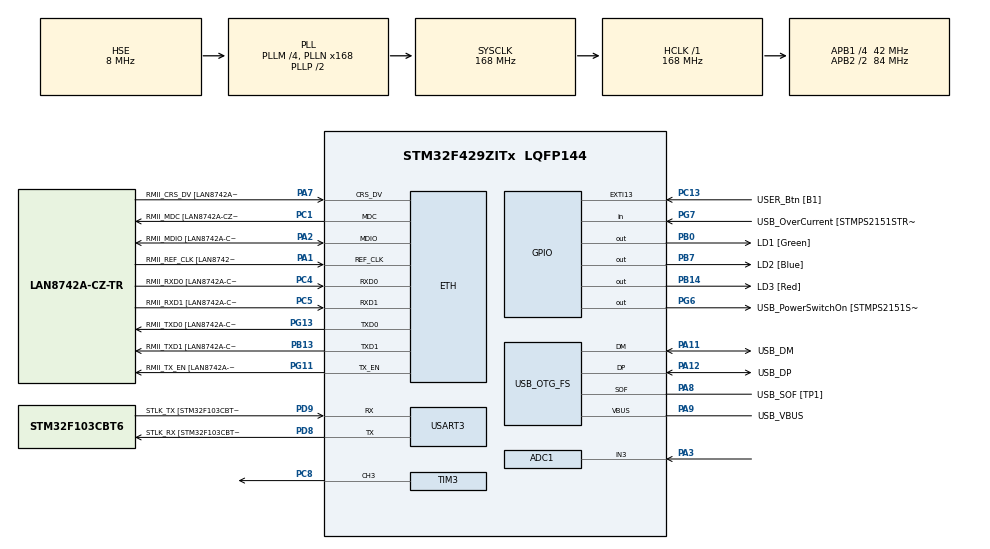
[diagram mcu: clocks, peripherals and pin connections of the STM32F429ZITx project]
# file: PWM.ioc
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ADC1.Channel-1\#ChannelRegularConversion=ADC_CHANNEL_3
ADC1.NbrOfConversionFlag=1
ADC1.Rank-1\#ChannelRegularConversion=1
ADC1.SamplingTime-1\#ChannelRegularConversion=ADC_SAMPLETIME_3CYCLES
ADC1.master=1
ETH.MediaInterface=HAL_ETH_RMII_MODE
ETH.PHY_Name=LAN8742A_PHY_ADDRESS
ETH.PHY_Value=0
ETH.PhyAddress=0
Mcu.Family=STM32F4
Mcu.Name=STM32F429ZITx
Mcu.Package=LQFP144
NVIC.ADC_IRQn=true\:0\:0\:false\:true\:true\:1\:true\:true\:true
NVIC.PriorityGroup=NVIC_PRIORITYGROUP_4
PA1.GPIO_Label=RMII_REF_CLK [LAN8742A-CZ-TR_REFCLK0]
PA1.Mode=RMII
PA1.Signal=ETH_REF_CLK
PA10.GPIO_Label=USB_ID
PA10.Signal=USB_OTG_FS_ID
PA11.GPIO_Label=USB_DM
PA11.Mode=Device_Only
PA11.Signal=USB_OTG_FS_DM
PA12.GPIO_Label=USB_DP
PA12.Mode=Device_Only
PA12.Signal=USB_OTG_FS_DP
PA13.GPIO_Label=TMS
PA13.Mode=Serial_Wire
PA13.Signal=SYS_JTMS-SWDIO
PA14.GPIO_Label=TCK
PA14.Mode=Serial_Wire
PA14.Signal=SYS_JTCK-SWCLK
PA2.GPIO_Label=RMII_MDIO [LAN8742A-CZ-TR_MDIO]
PA2.Mode=RMII
PA2.Signal=ETH_MDIO
PA3.Signal=ADCx_IN3
PA7.GPIO_Label=RMII_CRS_DV [LAN8742A-CZ-TR_CRS_DV]
PA7.Mode=RMII
PA7.Signal=ETH_CRS_DV
PA8.GPIO_Label=USB_SOF [TP1]
PA8.Mode=Activate_SOF_FS
PA8.Signal=USB_OTG_FS_SOF
PA9.GPIO_Label=USB_VBUS
PA9.Mode=Activate_VBUS
PA9.Signal=USB_OTG_FS_VBUS
PB0.GPIO_Label=LD1 [Green]
PB0.Signal=GPIO_Output
PB13.GPIO_Label=RMII_TXD1 [LAN8742A-CZ-TR_TXD1]
PB13.Mode=RMII
PB13.Signal=ETH_TXD1
PB14.GPIO_Label=LD3 [Red]
PB14.Signal=GPIO_Output
PB7.GPIO_Label=LD2 [Blue]
PB7.Signal=GPIO_Output
PC1.GPIO_Label=RMII_MDC [LAN8742A-CZ-TR_MDC]
PC1.Mode=RMII
PC1.Signal=ETH_MDC
PC13.GPIO_Label=USER_Btn [B1]
PC13.Signal=GPXTI13
PC14/OSC32_IN.Mode=LSE-External-Oscillator
PC14/OSC32_IN.Signal=RCC_OSC32_IN
PC15/OSC32_OUT.Mode=LSE-External-Oscillator
PC15/OSC32_OUT.Signal=RCC_OSC32_OUT
PC4.GPIO_Label=RMII_RXD0 [LAN8742A-CZ-TR_RXD0]
PC4.Mode=RMII
PC4.Signal=ETH_RXD0
PC5.GPIO_Label=RMII_RXD1 [LAN8742A-CZ-TR_RXD1]
PC5.Mode=RMII
PC5.Signal=ETH_RXD1
PC8.Signal=S_TIM3_CH3
PD8.GPIO_Label=STLK_RX [STM32F103CBT6_PA3]
PD8.Mode=Asynchronous
PD8.Signal=USART3_TX
PD9.GPIO_Label=STLK_TX [STM32F103CBT6_PA2]
PD9.Mode=Asynchronous
PD9.Signal=USART3_RX
PG11.GPIO_Label=RMII_TX_EN [LAN8742A-CZ-TR_TXEN]
PG11.Mode=RMII
PG11.Signal=ETH_TX_EN
PG13.GPIO_Label=RMII_TXD0 [LAN8742A-CZ-TR_TXD0]
PG13.Mode=RMII
PG13.Signal=ETH_TXD0
PG6.GPIO_Label=USB_PowerSwitchOn [STMPS2151STR_EN]
PG6.Signal=GPIO_Output
PG7.GPIO_Label=USB_OverCurrent [STMPS2151STR_FAULT]
PG7.Signal=GPIO_Input
PH0/OSC_IN.GPIO_Label=MCO [STM32F103CBT6_PA8]
PH0/OSC_IN.Mode=HSE-External-Clock-Source
PH0/OSC_IN.Signal=RCC_OSC_IN
PH1/OSC_OUT.Mode=HSE-External-Clock-Source
PH1/OSC_OUT.Signal=RCC_OSC_OUT
ProjectManager.HeapSize=0x200
ProjectManager.StackSize=0x400
ProjectManager.TargetToolchain=STM32CubeIDE
RCC.48MHZClocksFreq_Value=48000000
RCC.AHBFreq_Value=168000000
RCC.APB1CLKDivider=RCC_HCLK_DIV4
RCC.APB1Freq_Value=42000000
RCC.APB1TimFreq_Value=84000000
RCC.APB2CLKDivider=RCC_HCLK_DIV2
RCC.APB2Freq_Value=84000000
RCC.APB2TimCLKDivider=2
RCC.APB2TimFreq_Value=168000000
RCC.CortexFreq_Value=168000000
RCC.HCLKFreq_Value=168000000
RCC.HSE_VALUE=8000000
RCC.HSI_VALUE=16000000
RCC.PLLM=4
RCC.PLLMUL=RCC_PLL_MUL9
RCC.PLLN=168
RCC.PLLQ=7
RCC.PRESCALERUSB=RCC_USBCLKSOURCE_PLL_DIV1_5
RCC.SYSCLKFreq_VALUE=168000000
RCC.SYSCLKSource=RCC_SYSCLKSOURCE_PLLCLK
RCC.SYSCLKSourceVirtual=RCC_SYSCLKSOURCE_PLLCLK
RCC.USBFreq_Value=48000000
RCC.VCOOutputFreq_Value=336000000
SH.ADCx_IN3.0=ADC1_IN3,IN3
SH.S_TIM3_CH3.0=TIM3_CH3,PWM Generation3 CH3
TIM3.Channel-PWM\ Generation3\ CH3=TIM_CHANNEL_3
TIM3.Period=2000-1
TIM3.Prescaler=840-1
TIM3.Pulse-PWM\ Generation3\ CH3=100-1
USART3.VirtualMode=VM_ASYNC
USB_OTG_FS.VirtualMode=Device_Only
VP_TIM3_VS_ClockSourceINT.Mode=Internal
board=NUCLEO-F429ZI

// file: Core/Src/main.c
/* USER CODE BEGIN Header */
/**
  ******************************************************************************
  * @file           : main.c
  * @brief          : Main program body
  ******************************************************************************
  * @attention
  *
  * Copyright (c) 2023 STMicroelectronics.
  * All rights reserved.
  *
  * This software is licensed under terms that can be found in the LICENSE file
  * in the root directory of this software component.
  * If no LICENSE file comes with this software, it is provided AS-IS.
  *
  ******************************************************************************
  */
/* USER CODE END Header */
#include "main.h"
#include "string.h"

ETH_TxPacketConfig TxConfig;
ETH_DMADescTypeDef  DMARxDscrTab[ETH_RX_DESC_CNT]; /* Ethernet Rx DMA Descriptors */
ETH_DMADescTypeDef  DMATxDscrTab[ETH_TX_DESC_CNT]; /* Ethernet Tx DMA Descriptors */

ADC_HandleTypeDef hadc1;

ETH_HandleTypeDef heth;

TIM_HandleTypeDef htim3;

UART_HandleTypeDef huart3;

PCD_HandleTypeDef hpcd_USB_OTG_FS;

void SystemClock_Config(void);
static void MX_GPIO_Init(void);
static void MX_ETH_Init(void);
static void MX_USART3_UART_Init(void);
static void MX_USB_OTG_FS_PCD_Init(void);
static void MX_TIM3_Init(void);
static void MX_ADC1_Init(void);
static void MX_NVIC_Init(void);

/* USER CODE BEGIN 0 */
int _write(int fd, char *ptr, int len){
	HAL_UART_Transmit(&huart3, (unsigned char*)ptr, len, HAL_MAX_DELAY);
	return len;
}

int _read(int file, char *ptr, int len){
	HAL_UART_Receive(&huart3, (unsigned char*)ptr, len, HAL_MAX_DELAY);
	return len;
}

int __io_putchar(int ch){
	HAL_UART_Transmit(&huart3, (unsigned char*)&ch, 1, HAL_MAX_DELAY);
	return ch;
}

int __io_getchar(void){
	uint8_t ch = 0;
	HAL_UART_Receive(&huart3, (uint8_t *)&ch, 1, HAL_MAX_DELAY);
	return ch;
}

char uart_buf[30];
int adc_value;
int a = 0;

int scaling(int x)
  {

	return (29*x)*10/4095;
  }
/* USER CODE END 0 */

int main(void)
{

  /* MCU Configuration--------------------------------------------------------*/

  /* Reset of all peripherals, Initializes the Flash interface and the Systick. */
  HAL_Init();

  /* Configure the system clock */
  SystemClock_Config();

  /* Initialize all configured peripherals */
  MX_GPIO_Init();
  MX_ETH_Init();
  MX_USART3_UART_Init();
  MX_USB_OTG_FS_PCD_Init();
  MX_TIM3_Init();
  MX_ADC1_Init();

  /* Initialize interrupts */
  MX_NVIC_Init();
  /* USER CODE BEGIN 2 */
  HAL_TIM_PWM_Start(&htim3, TIM_CHANNEL_3);
  HAL_ADC_Start_IT(&hadc1);
  uint16_t value = 0;

  /* USER CODE END 2 */

  /* Infinite loop */
	while (1) {

    /* USER CODE BEGIN 3 */
		HAL_ADC_Start_IT(&hadc1);
//		HAL_ADC_Start(&hadc1);
//		HAL_ADC_PollForConversion(&hadc1, 10);
//		adc_value = HAL_ADC_GetValue(&hadc1);
//		HAL_ADC_Stop(&hadc1);
//
//		memset(uart_buf, 0, sizeof(uart_buf));
//		sprintf(uart_buf, "A : %d, ADC Value : %d \r\n", a, adc_value);
//		HAL_UART_Transmit(&huart3, (uint8_t*) uart_buf, sizeof(uart_buf), 1000);

//		if (adc_value > 3100) {
//			a = 30;
//			HAL_Delay(100);
//		}
//		if (adc_value < 2000) {
//			a = 2;
//			HAL_Delay(100);
//		}
//		if (adc_value > 2000 && adc_value < 3100) {
//			a = 15;
//			HAL_Delay(100);
//		}

		TIM3 -> CCR3 = scaling(adc_value);
		printf("joystick: %d , scaling value : %d\r\n", adc_value, scaling(adc_value));

	}
  /* USER CODE END 3 */
}

void SystemClock_Config(void)
{
  RCC_OscInitTypeDef RCC_OscInitStruct = {0};
  RCC_ClkInitTypeDef RCC_ClkInitStruct = {0};

  /** Configure the main internal regulator output voltage
  */
  __HAL_RCC_PWR_CLK_ENABLE();
  __HAL_PWR_VOLTAGESCALING_CONFIG(PWR_REGULATOR_VOLTAGE_SCALE1);

  /** Initializes the RCC Oscillators according to the specified parameters
  * in the RCC_OscInitTypeDef structure.
  */
  RCC_OscInitStruct.OscillatorType = RCC_OSCILLATORTYPE_HSE;
  RCC_OscInitStruct.HSEState = RCC_HSE_BYPASS;
  RCC_OscInitStruct.PLL.PLLState = RCC_PLL_ON;
  RCC_OscInitStruct.PLL.PLLSource = RCC_PLLSOURCE_HSE;
  RCC_OscInitStruct.PLL.PLLM = 4;
  RCC_OscInitStruct.PLL.PLLN = 168;
  RCC_OscInitStruct.PLL.PLLP = RCC_PLLP_DIV2;
  RCC_OscInitStruct.PLL.PLLQ = 7;
  if (HAL_RCC_OscConfig(&RCC_OscInitStruct) != HAL_OK)
  {
    Error_Handler();
  }

  /** Initializes the CPU, AHB and APB buses clocks
  */
  RCC_ClkInitStruct.ClockType = RCC_CLOCKTYPE_HCLK|RCC_CLOCKTYPE_SYSCLK
                              |RCC_CLOCKTYPE_PCLK1|RCC_CLOCKTYPE_PCLK2;
  RCC_ClkInitStruct.SYSCLKSource = RCC_SYSCLKSOURCE_PLLCLK;
  RCC_ClkInitStruct.AHBCLKDivider = RCC_SYSCLK_DIV1;
  RCC_ClkInitStruct.APB1CLKDivider = RCC_HCLK_DIV4;
  RCC_ClkInitStruct.APB2CLKDivider = RCC_HCLK_DIV2;

  if (HAL_RCC_ClockConfig(&RCC_ClkInitStruct, FLASH_LATENCY_5) != HAL_OK)
  {
    Error_Handler();
  }
}

/**
  * @brief NVIC Configuration.
  * @retval None
  */
static void MX_NVIC_Init(void)
{
  /* ADC_IRQn interrupt configuration */
  HAL_NVIC_SetPriority(ADC_IRQn, 0, 0);
  HAL_NVIC_EnableIRQ(ADC_IRQn);
}

static void MX_ADC1_Init(void)
{

  ADC_ChannelConfTypeDef sConfig = {0};

  /** Configure the global features of the ADC (Clock, Resolution, Data Alignment and number of conversion)
  */
  hadc1.Instance = ADC1;
  hadc1.Init.ClockPrescaler = ADC_CLOCK_SYNC_PCLK_DIV4;
  hadc1.Init.Resolution = ADC_RESOLUTION_12B;
  hadc1.Init.ScanConvMode = DISABLE;
  hadc1.Init.ContinuousConvMode = DISABLE;
  hadc1.Init.DiscontinuousConvMode = DISABLE;
  hadc1.Init.ExternalTrigConvEdge = ADC_EXTERNALTRIGCONVEDGE_NONE;
  hadc1.Init.ExternalTrigConv = ADC_SOFTWARE_START;
  hadc1.Init.DataAlign = ADC_DATAALIGN_RIGHT;
  hadc1.Init.NbrOfConversion = 1;
  hadc1.Init.DMAContinuousRequests = DISABLE;
  hadc1.Init.EOCSelection = ADC_EOC_SINGLE_CONV;
  if (HAL_ADC_Init(&hadc1) != HAL_OK)
  {
    Error_Handler();
  }

  /** Configure for the selected ADC regular channel its corresponding rank in the sequencer and its sample time.
  */
  sConfig.Channel = ADC_CHANNEL_3;
  sConfig.Rank = 1;
  sConfig.SamplingTime = ADC_SAMPLETIME_3CYCLES;
  if (HAL_ADC_ConfigChannel(&hadc1, &sConfig) != HAL_OK)
  {
    Error_Handler();
  }

}

static void MX_ETH_Init(void)
{

   static uint8_t MACAddr[6];

  heth.Instance = ETH;
  MACAddr[0] = 0x00;
  MACAddr[1] = 0x80;
  MACAddr[2] = 0xE1;
  MACAddr[3] = 0x00;
  MACAddr[4] = 0x00;
  MACAddr[5] = 0x00;
  heth.Init.MACAddr = &MACAddr[0];
  heth.Init.MediaInterface = HAL_ETH_RMII_MODE;
  heth.Init.TxDesc = DMATxDscrTab;
  heth.Init.RxDesc = DMARxDscrTab;
  heth.Init.RxBuffLen = 1524;

  if (HAL_ETH_Init(&heth) != HAL_OK)
  {
    Error_Handler();
  }

  memset(&TxConfig, 0 , sizeof(ETH_TxPacketConfig));
  TxConfig.Attributes = ETH_TX_PACKETS_FEATURES_CSUM | ETH_TX_PACKETS_FEATURES_CRCPAD;
  TxConfig.ChecksumCtrl = ETH_CHECKSUM_IPHDR_PAYLOAD_INSERT_PHDR_CALC;
  TxConfig.CRCPadCtrl = ETH_CRC_PAD_INSERT;

}

static void MX_TIM3_Init(void)
{

  TIM_ClockConfigTypeDef sClockSourceConfig = {0};
  TIM_MasterConfigTypeDef sMasterConfig = {0};
  TIM_OC_InitTypeDef sConfigOC = {0};

  htim3.Instance = TIM3;
  htim3.Init.Prescaler = 840-1;
  htim3.Init.CounterMode = TIM_COUNTERMODE_UP;
  htim3.Init.Period = 2000-1;
  htim3.Init.ClockDivision = TIM_CLOCKDIVISION_DIV1;
  htim3.Init.AutoReloadPreload = TIM_AUTORELOAD_PRELOAD_DISABLE;
  if (HAL_TIM_Base_Init(&htim3) != HAL_OK)
  {
    Error_Handler();
  }
  sClockSourceConfig.ClockSource = TIM_CLOCKSOURCE_INTERNAL;
  if (HAL_TIM_ConfigClockSource(&htim3, &sClockSourceConfig) != HAL_OK)
  {
    Error_Handler();
  }
  if (HAL_TIM_PWM_Init(&htim3) != HAL_OK)
  {
    Error_Handler();
  }
  sMasterConfig.MasterOutputTrigger = TIM_TRGO_RESET;
  sMasterConfig.MasterSlaveMode = TIM_MASTERSLAVEMODE_DISABLE;
  if (HAL_TIMEx_MasterConfigSynchronization(&htim3, &sMasterConfig) != HAL_OK)
  {
    Error_Handler();
  }
  sConfigOC.OCMode = TIM_OCMODE_PWM1;
  sConfigOC.Pulse = 100-1;
  sConfigOC.OCPolarity = TIM_OCPOLARITY_HIGH;
  sConfigOC.OCFastMode = TIM_OCFAST_DISABLE;
  if (HAL_TIM_PWM_ConfigChannel(&htim3, &sConfigOC, TIM_CHANNEL_3) != HAL_OK)
  {
    Error_Handler();
  }
  HAL_TIM_MspPostInit(&htim3);

}

static void MX_USART3_UART_Init(void)
{

  huart3.Instance = USART3;
  huart3.Init.BaudRate = 115200;
  huart3.Init.WordLength = UART_WORDLENGTH_8B;
  huart3.Init.StopBits = UART_STOPBITS_1;
  huart3.Init.Parity = UART_PARITY_NONE;
  huart3.Init.Mode = UART_MODE_TX_RX;
  huart3.Init.HwFlowCtl = UART_HWCONTROL_NONE;
  huart3.Init.OverSampling = UART_OVERSAMPLING_16;
  if (HAL_UART_Init(&huart3) != HAL_OK)
  {
    Error_Handler();
  }

}

static void MX_USB_OTG_FS_PCD_Init(void)
{

  hpcd_USB_OTG_FS.Instance = USB_OTG_FS;
  hpcd_USB_OTG_FS.Init.dev_endpoints = 4;
  hpcd_USB_OTG_FS.Init.speed = PCD_SPEED_FULL;
  hpcd_USB_OTG_FS.Init.dma_enable = DISABLE;
  hpcd_USB_OTG_FS.Init.phy_itface = PCD_PHY_EMBEDDED;
  hpcd_USB_OTG_FS.Init.Sof_enable = ENABLE;
  hpcd_USB_OTG_FS.Init.low_power_enable = DISABLE;
  hpcd_USB_OTG_FS.Init.lpm_enable = DISABLE;
  hpcd_USB_OTG_FS.Init.vbus_sensing_enable = ENABLE;
  hpcd_USB_OTG_FS.Init.use_dedicated_ep1 = DISABLE;
  if (HAL_PCD_Init(&hpcd_USB_OTG_FS) != HAL_OK)
  {
    Error_Handler();
  }

}

static void MX_GPIO_Init(void)
{
  GPIO_InitTypeDef GPIO_InitStruct = {0};

  /* GPIO Ports Clock Enable */
  __HAL_RCC_GPIOC_CLK_ENABLE();
  __HAL_RCC_GPIOH_CLK_ENABLE();
  __HAL_RCC_GPIOA_CLK_ENABLE();
  __HAL_RCC_GPIOB_CLK_ENABLE();
  __HAL_RCC_GPIOD_CLK_ENABLE();
  __HAL_RCC_GPIOG_CLK_ENABLE();

  /*Configure GPIO pin Output Level */
  HAL_GPIO_WritePin(GPIOB, LD1_Pin|LD3_Pin|LD2_Pin, GPIO_PIN_RESET);

  /*Configure GPIO pin Output Level */
  HAL_GPIO_WritePin(USB_PowerSwitchOn_GPIO_Port, USB_PowerSwitchOn_Pin, GPIO_PIN_RESET);

  /*Configure GPIO pin : USER_Btn_Pin */
  GPIO_InitStruct.Pin = USER_Btn_Pin;
  GPIO_InitStruct.Mode = GPIO_MODE_IT_RISING;
  GPIO_InitStruct.Pull = GPIO_NOPULL;
  HAL_GPIO_Init(USER_Btn_GPIO_Port, &GPIO_InitStruct);

  /*Configure GPIO pins : LD1_Pin LD3_Pin LD2_Pin */
  GPIO_InitStruct.Pin = LD1_Pin|LD3_Pin|LD2_Pin;
  GPIO_InitStruct.Mode = GPIO_MODE_OUTPUT_PP;
  GPIO_InitStruct.Pull = GPIO_NOPULL;
  GPIO_InitStruct.Speed = GPIO_SPEED_FREQ_LOW;
  HAL_GPIO_Init(GPIOB, &GPIO_InitStruct);

  /*Configure GPIO pin : USB_PowerSwitchOn_Pin */
  GPIO_InitStruct.Pin = USB_PowerSwitchOn_Pin;
  GPIO_InitStruct.Mode = GPIO_MODE_OUTPUT_PP;
  GPIO_InitStruct.Pull = GPIO_NOPULL;
  GPIO_InitStruct.Speed = GPIO_SPEED_FREQ_LOW;
  HAL_GPIO_Init(USB_PowerSwitchOn_GPIO_Port, &GPIO_InitStruct);

  /*Configure GPIO pin : USB_OverCurrent_Pin */
  GPIO_InitStruct.Pin = USB_OverCurrent_Pin;
  GPIO_InitStruct.Mode = GPIO_MODE_INPUT;
  GPIO_InitStruct.Pull = GPIO_NOPULL;
  HAL_GPIO_Init(USB_OverCurrent_GPIO_Port, &GPIO_InitStruct);

}

/* USER CODE BEGIN 4 */
void HAL_ADC_ConvCpltCallback(ADC_HandleTypeDef* hadc)
{
	if(hadc -> Instance == ADC1)
	{
		adc_value = HAL_ADC_GetValue(&hadc1);
	}
}
/* USER CODE END 4 */

void Error_Handler(void)
{
  __disable_irq();
  while (1)
  {
  }
}
